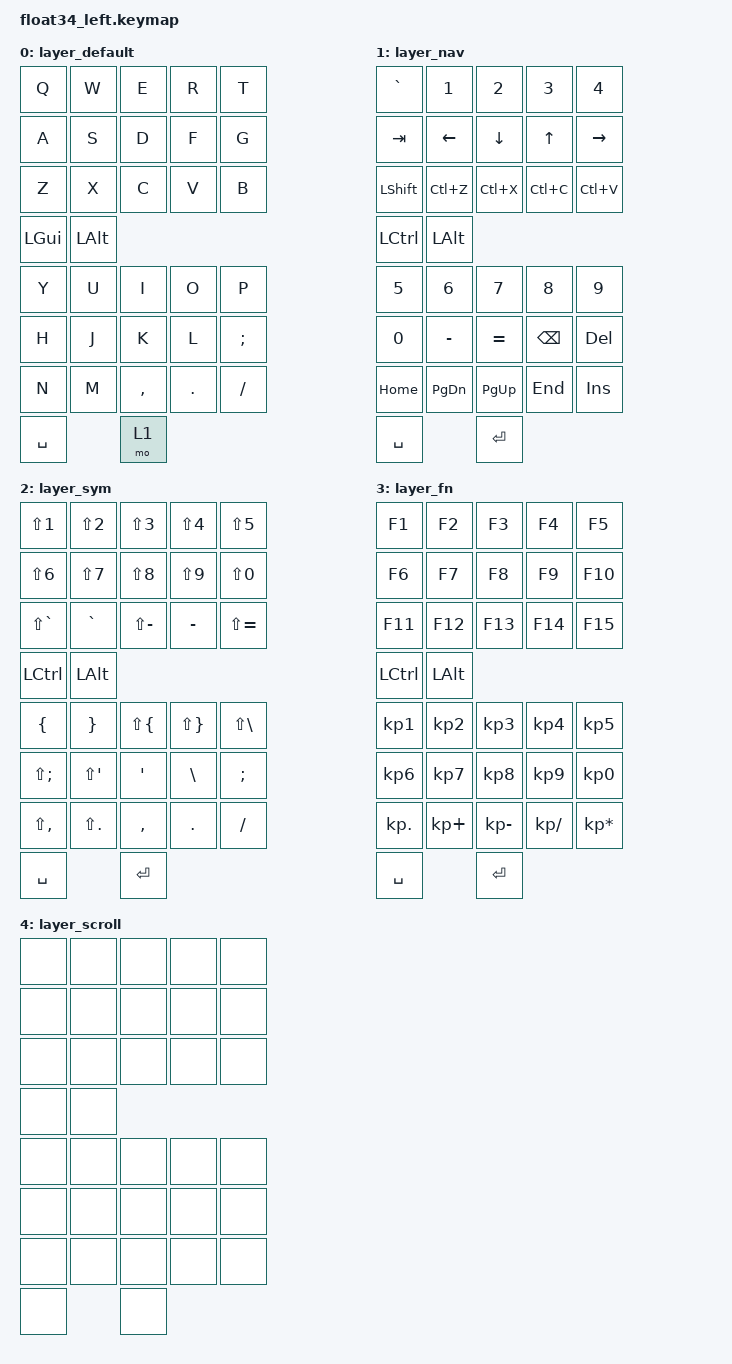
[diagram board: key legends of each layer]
#include <behaviors.dtsi>
#include <dt-bindings/zmk/keys.h>
#include <dt-bindings/zmk/bt.h>
#include <dt-bindings/zmk/outputs.h>

/ {
    keymap {
        compatible = "zmk,keymap";

        default_layer: layer_default {
            bindings = <
&kp Q &kp W &kp E &kp R &kp T
&kp A &kp S &kp D &kp F &kp G
&kp Z &kp X &kp C &kp V &kp B
&kp LGUI &kp LALT
&kp Y &kp U &kp I &kp O &kp P
&kp H &kp J &kp K &kp L &kp SEMI
&kp N &kp M &kp COMMA &kp DOT &kp SLASH
&kp SPACE &mo 1
            >;
        };

        nav_layer: layer_nav {
            bindings = <
&kp GRAVE &kp N1 &kp N2 &kp N3 &kp N4
&kp TAB &kp LEFT &kp DOWN &kp UP &kp RIGHT
&kp LSHFT &kp LC(Z) &kp LC(X) &kp LC(C) &kp LC(V)
&kp LCTL &kp LALT
&kp N5 &kp N6 &kp N7 &kp N8 &kp N9
&kp N0 &kp MINUS &kp EQUAL &kp BSPC &kp DEL
&kp HOME &kp PG_DN &kp PG_UP &kp END &kp INS
&kp SPACE &kp RET
            >;
        };

        sym_layer: layer_sym {
            bindings = <
&kp LS(N1) &kp LS(N2) &kp LS(N3) &kp LS(N4) &kp LS(N5)
&kp LS(N6) &kp LS(N7) &kp LS(N8) &kp LS(N9) &kp LS(N0)
&kp LS(GRAVE) &kp GRAVE &kp LS(MINUS) &kp MINUS &kp LS(EQUAL)
&kp LCTL &kp LALT
&kp LBRC &kp RBRC &kp LS(LBRC) &kp LS(RBRC) &kp LS(BSLH)
&kp LS(SEMI) &kp LS(SQT) &kp SQT &kp BSLH &kp SEMI
&kp LS(COMMA) &kp LS(DOT) &kp COMMA &kp DOT &kp SLASH
&kp SPACE &kp RET
            >;
        };

        fn_layer: layer_fn {
            bindings = <
&kp F1 &kp F2 &kp F3 &kp F4 &kp F5
&kp F6 &kp F7 &kp F8 &kp F9 &kp F10
&kp F11 &kp F12 &kp F13 &kp F14 &kp F15
&kp LCTL &kp LALT
&kp KP_N1 &kp KP_N2 &kp KP_N3 &kp KP_N4 &kp KP_N5
&kp KP_N6 &kp KP_N7 &kp KP_N8 &kp KP_N9 &kp KP_N0
&kp KP_DOT &kp KP_PLUS &kp KP_MINUS &kp KP_DIVIDE &kp KP_MULTIPLY
&kp SPACE &kp RET
            >;
        };

        scroll_layer: layer_scroll {
            bindings = <
&none &none &none &none &none
&none &none &none &none &none
&none &none &none &none &none
&none &none
&none &none &none &none &none
&none &none &none &none &none
&none &none &none &none &none
&none &none
            >;
        };
    };
};
